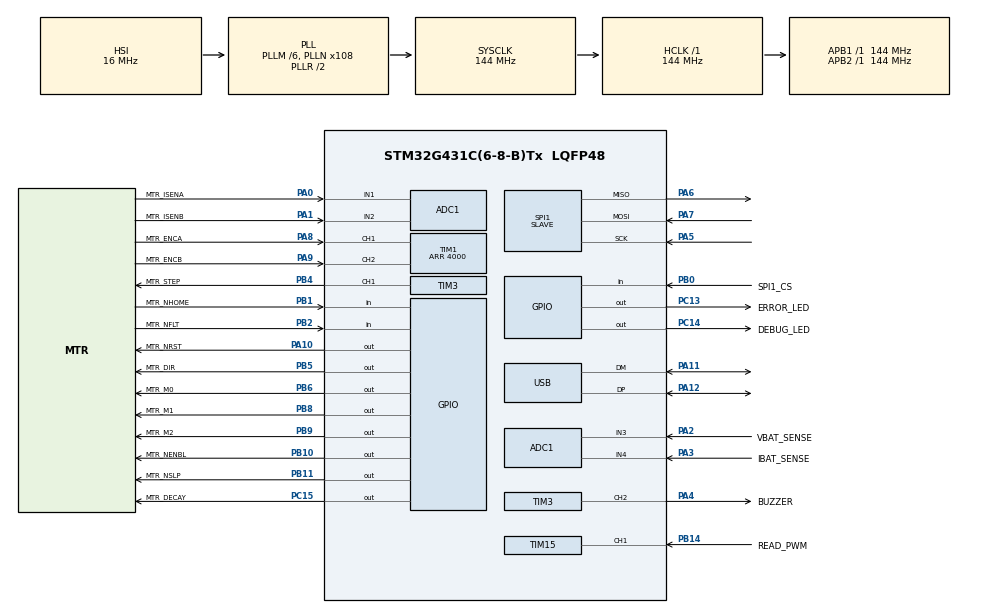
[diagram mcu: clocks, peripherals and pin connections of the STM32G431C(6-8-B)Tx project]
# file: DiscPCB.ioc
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ADC1.Channel-1\#ChannelRegularConversion=ADC_CHANNEL_1
ADC1.Channel-2\#ChannelRegularConversion=ADC_CHANNEL_2
ADC1.Channel-3\#ChannelRegularConversion=ADC_CHANNEL_3
ADC1.Channel-4\#ChannelRegularConversion=ADC_CHANNEL_4
ADC1.EOCSelection=ADC_EOC_SEQ_CONV
ADC1.ExternalTrigConv=ADC_EXTERNALTRIG_T8_TRGO
ADC1.NbrOfConversion=4
ADC1.NbrOfConversionFlag=1
ADC1.OffsetNumber-1\#ChannelRegularConversion=ADC_OFFSET_NONE
ADC1.OffsetNumber-2\#ChannelRegularConversion=ADC_OFFSET_NONE
ADC1.OffsetNumber-3\#ChannelRegularConversion=ADC_OFFSET_NONE
ADC1.OffsetNumber-4\#ChannelRegularConversion=ADC_OFFSET_NONE
ADC1.Rank-1\#ChannelRegularConversion=1
ADC1.Rank-2\#ChannelRegularConversion=2
ADC1.Rank-3\#ChannelRegularConversion=3
ADC1.Rank-4\#ChannelRegularConversion=4
ADC1.SamplingTime-1\#ChannelRegularConversion=ADC_SAMPLETIME_2CYCLES_5
ADC1.SamplingTime-2\#ChannelRegularConversion=ADC_SAMPLETIME_2CYCLES_5
ADC1.SamplingTime-3\#ChannelRegularConversion=ADC_SAMPLETIME_2CYCLES_5
ADC1.SamplingTime-4\#ChannelRegularConversion=ADC_SAMPLETIME_2CYCLES_5
ADC1.master=1
Dma.ADC1.0.Direction=DMA_PERIPH_TO_MEMORY
Dma.ADC1.0.EventEnable=DISABLE
Dma.ADC1.0.Instance=DMA1_Channel1
Dma.ADC1.0.MemDataAlignment=DMA_MDATAALIGN_HALFWORD
Dma.ADC1.0.MemInc=DMA_MINC_ENABLE
Dma.ADC1.0.Mode=DMA_NORMAL
Dma.ADC1.0.PeriphDataAlignment=DMA_PDATAALIGN_HALFWORD
Dma.ADC1.0.PeriphInc=DMA_PINC_DISABLE
Dma.ADC1.0.Polarity=HAL_DMAMUX_REQ_GEN_RISING
Dma.ADC1.0.Priority=DMA_PRIORITY_LOW
Dma.ADC1.0.RequestNumber=1
Dma.ADC1.0.SignalID=NONE
Dma.ADC1.0.SyncEnable=DISABLE
Dma.ADC1.0.SyncPolarity=HAL_DMAMUX_SYNC_NO_EVENT
Dma.ADC1.0.SyncRequestNumber=1
Dma.ADC1.0.SyncSignalID=NONE
Dma.Request0=ADC1
FREERTOS.BinarySemaphores01=spiReadySem,Dynamic,NULL,Available
FREERTOS.Queues01=adcBattBuff,4,uint16_t,0,Dynamic,NULL,NULL;motorData,64,uint16_t,0,Dynamic,NULL,NULL;timEncoder,16,uint16_t,0,Dynamic,NULL,NULL
FREERTOS.Tasks01=strelkaCommsTas,24,128,strelkaCommsFn,Default,NULL,Dynamic,NULL,NULL;powerSenseTask,24,128,powerSenseFn,Default,NULL,Dynamic,NULL,NULL;stepperCtrlTask,24,128,stepperCtrlFn,Default,NULL,Dynamic,NULL,NULL;stateMachineTas,24,128,stateMachineFn,Default,NULL,Dynamic,NULL,NULL;sampleEncoder,24,128,sampleEncoderFn,Default,NULL,Dynamic,NULL,NULL
FREERTOS.configENABLE_FPU=1
FREERTOS.configTOTAL_HEAP_SIZE=6144
FREERTOS.configUSE_NEWLIB_REENTRANT=1
Mcu.Family=STM32G4
Mcu.Name=STM32G431C(6-8-B)Tx
Mcu.Package=LQFP48
NVIC.ADC1_2_IRQn=true\:5\:0\:false\:false\:true\:true\:true\:true\:true
NVIC.DMA1_Channel1_IRQn=true\:5\:0\:false\:false\:true\:true\:false\:true\:true
NVIC.PriorityGroup=NVIC_PRIORITYGROUP_4
NVIC.SPI1_IRQn=true\:5\:0\:false\:false\:true\:true\:true\:true\:true
NVIC.TIM1_BRK_TIM15_IRQn=true\:5\:0\:false\:false\:true\:true\:true\:true\:true
NVIC.TIM1_CC_IRQn=true\:5\:0\:false\:false\:true\:true\:true\:true\:true
NVIC.TIM1_TRG_COM_TIM17_IRQn=true\:5\:0\:false\:false\:true\:true\:true\:true\:true
NVIC.TIM1_UP_TIM16_IRQn=true\:5\:0\:false\:false\:true\:true\:true\:true\:true
NVIC.TIM3_IRQn=true\:5\:0\:false\:false\:true\:true\:true\:true\:true
NVIC.TIM4_IRQn=true\:5\:0\:false\:false\:true\:true\:true\:true\:true
NVIC.TIM6_DAC_IRQn=true\:15\:0\:false\:false\:true\:false\:false\:true\:true
NVIC.TimeBase=TIM6_DAC_IRQn
NVIC.TimeBaseIP=TIM6
NVIC.USB_LP_IRQn=true\:5\:0\:false\:false\:true\:true\:false\:true\:true
PA0.GPIO_Label=MTR_ISENA
PA0.Mode=IN1-Single-Ended
PA0.Signal=ADC1_IN1
PA1.GPIO_Label=MTR_ISENB
PA1.Mode=IN2-Single-Ended
PA1.Signal=ADC1_IN2
PA10.GPIO_Label=MTR_NRST
PA10.Signal=GPIO_Output
PA11.Mode=Device
PA11.Signal=USB_DM
PA12.Mode=Device
PA12.Signal=USB_DP
PA13.Mode=Trace_Asynchronous_SW
PA13.Signal=SYS_JTMS-SWDIO
PA14.Mode=Trace_Asynchronous_SW
PA14.Signal=SYS_JTCK-SWCLK
PA2.GPIO_Label=VBAT_SENSE
PA2.Mode=IN3-Single-Ended
PA2.Signal=ADC1_IN3
PA3.GPIO_Label=IBAT_SENSE
PA3.Mode=IN4-Single-Ended
PA3.Signal=ADC1_IN4
PA4.GPIO_Label=BUZZER
PA4.Signal=S_TIM3_CH2
PA5.Mode=Full_Duplex_Slave
PA5.Signal=SPI1_SCK
PA6.Mode=Full_Duplex_Slave
PA6.Signal=SPI1_MISO
PA7.Mode=Full_Duplex_Slave
PA7.Signal=SPI1_MOSI
PA8.GPIO_Label=MTR_ENCA
PA8.Signal=S_TIM1_CH1
PA9.GPIO_Label=MTR_ENCB
PA9.Signal=S_TIM1_CH2
PB0.GPIO_Label=SPI1_CS
PB0.Signal=GPIO_Input
PB1.GPIO_Label=MTR_NHOME
PB1.Signal=GPIO_Input
PB10.GPIO_Label=MTR_NENBL
PB10.Signal=GPIO_Output
PB11.GPIO_Label=MTR_NSLP
PB11.GPIO_PuPd=GPIO_PULLUP
PB11.Signal=GPIO_Output
PB14.GPIO_Label=READ_PWM
PB14.Signal=S_TIM15_CH1
PB2.GPIO_Label=MTR_NFLT
PB2.GPIO_PuPd=GPIO_PULLUP
PB2.Signal=GPIO_Input
PB3.Mode=Trace_Asynchronous_SW
PB3.Signal=SYS_JTDO-SWO
PB4.GPIO_Label=MTR_STEP
PB4.GPIO_PuPd=GPIO_PULLUP
PB4.Signal=S_TIM3_CH1
PB5.GPIO_Label=MTR_DIR
PB5.Signal=GPIO_Output
PB6.GPIO_Label=MTR_M0
PB6.Signal=GPIO_Output
PB8-BOOT0.GPIO_Label=MTR_M1
PB8-BOOT0.Signal=GPIO_Output
PB9.GPIO_Label=MTR_M2
PB9.Signal=GPIO_Output
PC13.GPIO_Label=ERROR_LED
PC13.Signal=GPIO_Output
PC14-OSC32_IN.GPIO_Label=DEBUG_LED
PC14-OSC32_IN.Signal=GPIO_Output
PC15-OSC32_OUT.GPIO_Label=MTR_DECAY
PC15-OSC32_OUT.Signal=GPIO_Output
ProjectManager.HeapSize=0x200
ProjectManager.StackSize=0x400
ProjectManager.TargetToolchain=STM32CubeIDE
RCC.ADC12Freq_Value=144000000
RCC.AHBFreq_Value=144000000
RCC.APB1Freq_Value=144000000
RCC.APB1TimFreq_Value=144000000
RCC.APB2Freq_Value=144000000
RCC.APB2TimFreq_Value=144000000
RCC.CortexFreq_Value=144000000
RCC.EXTERNAL_CLOCK_VALUE=12288000
RCC.HCLKFreq_Value=144000000
RCC.HSE_VALUE=8000000
RCC.HSI48_VALUE=48000000
RCC.HSI_VALUE=16000000
RCC.LSE_VALUE=32768
RCC.PLLM=RCC_PLLM_DIV6
RCC.PLLN=108
RCC.PLLQ=RCC_PLLQ_DIV6
RCC.SYSCLKFreq_VALUE=144000000
RCC.SYSCLKSource=RCC_SYSCLKSOURCE_PLLCLK
RCC.USBFreq_Value=48000000
RCC.VCOOutputFreq_Value=288000000
SH.S_TIM15_CH1.0=TIM15_CH1,PWM_Input_1
SH.S_TIM1_CH1.0=TIM1_CH1,Encoder_Interface
SH.S_TIM1_CH2.0=TIM1_CH2,Encoder_Interface
SH.S_TIM3_CH1.0=TIM3_CH1,PWM Generation1 CH1
SH.S_TIM3_CH2.0=TIM3_CH2,PWM Generation2 CH2
SPI1.DataSize=SPI_DATASIZE_8BIT
SPI1.Direction=SPI_DIRECTION_2LINES
SPI1.Mode=SPI_MODE_SLAVE
SPI1.VirtualType=VM_SLAVE
TIM1.AutoReloadPreload=TIM_AUTORELOAD_PRELOAD_ENABLE
TIM1.EncoderMode=TIM_ENCODERMODE_TI12
TIM1.IC1Filter=15
TIM1.IC2Filter=15
TIM1.PeriodNoDither=4000
TIM2.Prescaler=144-1
TIM3.Channel-PWM\ Generation1\ CH1=TIM_CHANNEL_1
TIM3.Channel-PWM\ Generation2\ CH2=TIM_CHANNEL_2
TIM3.OCMode_PWM-PWM\ Generation2\ CH2=TIM_OCMODE_PWM1
TIM3.PeriodNoDither=4000-1
TIM3.Prescaler=9-1
TIM3.PulseNoDither_1=20000
TIM3.TIM_MasterOutputTrigger=TIM_TRGO_UPDATE
TIM4.PeriodNoDither=8
TIM8.Prescaler=144-1
TIM8.TIM_MasterOutputTrigger=TIM_TRGO_UPDATE
USB_DEVICE.CLASS_NAME_FS=CDC
USB_DEVICE.VirtualMode=Cdc
USB_DEVICE.VirtualModeFS=Cdc_FS
VP_FREERTOS_VS_CMSIS_V2.Mode=CMSIS_V2
VP_SYS_VS_DBSignals.Mode=DisableDeadBatterySignals
VP_SYS_VS_tim6.Mode=TIM6
VP_TIM2_VS_ClockSourceINT.Mode=Internal
VP_TIM3_VS_ClockSourceINT.Mode=Internal
VP_TIM4_VS_ClockSourceITR.Mode=TriggerSource_ITR2
VP_TIM4_VS_ControllerModeClock.Mode=Clock Mode
VP_TIM8_VS_ClockSourceINT.Mode=Internal
VP_USB_DEVICE_VS_USB_DEVICE_CDC_FS.Mode=CDC_FS
board=custom

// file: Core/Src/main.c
/* USER CODE BEGIN Header */
/**
  ******************************************************************************
  * @file           : main.c
  * @brief          : Main program body
  ******************************************************************************
  * @attention
  *
  * Copyright (c) 2025 STMicroelectronics.
  * All rights reserved.
  *
  * This software is licensed under terms that can be found in the LICENSE file
  * in the root directory of this software component.
  * If no LICENSE file comes with this software, it is provided AS-IS.
  *
  ******************************************************************************
  */
/* USER CODE END Header */
#include "main.h"
#include "cmsis_os.h"
#include "usb_device.h"

/* USER CODE BEGIN Includes */
#include "DRV8825.h"
#include "discStateMachine.h"
#include "stdio.h"
#include "threadFlags.h"
//#include "SPI_Comms.h"
#include "PID.h"
#include "encoder.h"
#include "string.h"
/* USER CODE END Includes */

/* USER CODE BEGIN PD */
//#define COMMAND_OVER_USB 1	// Uncomment if we want to receive data from USB

//#define USE_BUZZER 1		// Uncomment if we don't want the buzzer to sound
#define BUZZ_ARR 40000
#define BUZZ_PSC 9
#define BUZZ_CHANNEL TIM_CHANNEL_2

//#define DEBUGGING 1

#define ENC_SAMPLE_TIME_MS 10

#define ENC_TICKS_TO_DEG 0.09
#define DEG_TO_ENC_TICKS 11.11

#define PWM_SCALE 10000
#define PWM_SHIFT 750

/* USER CODE END PD */

ADC_HandleTypeDef hadc1;
DMA_HandleTypeDef hdma_adc1;

SPI_HandleTypeDef hspi1;

TIM_HandleTypeDef htim1;
TIM_HandleTypeDef htim2;
TIM_HandleTypeDef htim3;
TIM_HandleTypeDef htim4;
TIM_HandleTypeDef htim8;
TIM_HandleTypeDef htim15;

/* Definitions for strelkaCommsTas */
osThreadId_t strelkaCommsTasHandle;
const osThreadAttr_t strelkaCommsTas_attributes = {
  .name = "strelkaCommsTas",
  .priority = (osPriority_t) osPriorityNormal,
  .stack_size = 128 * 4
};
/* Definitions for powerSenseTask */
osThreadId_t powerSenseTaskHandle;
const osThreadAttr_t powerSenseTask_attributes = {
  .name = "powerSenseTask",
  .priority = (osPriority_t) osPriorityNormal,
  .stack_size = 128 * 4
};
/* Definitions for stepperCtrlTask */
osThreadId_t stepperCtrlTaskHandle;
const osThreadAttr_t stepperCtrlTask_attributes = {
  .name = "stepperCtrlTask",
  .priority = (osPriority_t) osPriorityNormal,
  .stack_size = 128 * 4
};
/* Definitions for stateMachineTas */
osThreadId_t stateMachineTasHandle;
const osThreadAttr_t stateMachineTas_attributes = {
  .name = "stateMachineTas",
  .priority = (osPriority_t) osPriorityNormal,
  .stack_size = 128 * 4
};
/* Definitions for sampleEncoder */
osThreadId_t sampleEncoderHandle;
const osThreadAttr_t sampleEncoder_attributes = {
  .name = "sampleEncoder",
  .priority = (osPriority_t) osPriorityNormal,
  .stack_size = 128 * 4
};
/* Definitions for adcBattBuff */
osMessageQueueId_t adcBattBuffHandle;
const osMessageQueueAttr_t adcBattBuff_attributes = {
  .name = "adcBattBuff"
};
/* Definitions for motorData */
osMessageQueueId_t motorDataHandle;
const osMessageQueueAttr_t motorData_attributes = {
  .name = "motorData"
};
/* Definitions for timEncoder */
osMessageQueueId_t timEncoderHandle;
const osMessageQueueAttr_t timEncoder_attributes = {
  .name = "timEncoder"
};
/* Definitions for spiReadySem */
osSemaphoreId_t spiReadySemHandle;
const osSemaphoreAttr_t spiReadySem_attributes = {
  .name = "spiReadySem"
};

void SystemClock_Config(void);
static void MX_GPIO_Init(void);
static void MX_DMA_Init(void);
static void MX_ADC1_Init(void);
static void MX_SPI1_Init(void);
static void MX_TIM1_Init(void);
static void MX_TIM3_Init(void);
static void MX_TIM4_Init(void);
static void MX_TIM2_Init(void);
static void MX_TIM8_Init(void);
static void MX_TIM15_Init(void);
void strelkaCommsFn(void *argument);
void powerSenseFn(void *argument);
void stepperCtrlFn(void *argument);
void stateMachineFn(void *argument);
void sampleEncoderFn(void *argument);

/* USER CODE BEGIN PFP */
uint8_t txStrelkaSPI[10];
uint8_t rxStrelkaSPI[10];
uint8_t txDiscSPI[10];
uint8_t rxDiscSPI[10];

/* USER CODE END PFP */

/* USER CODE BEGIN 0 */
TIM_HandleTypeDef* EncoderTimer = &htim1;
TIM_HandleTypeDef* MicrosTimer = &htim2;
TIM_HandleTypeDef* PWMTimer = &htim3;
TIM_HandleTypeDef* PWMStopTimer = &htim4;
TIM_HandleTypeDef* MillisTimer = &htim8;
TIM_HandleTypeDef* PWMReadTimer = &htim15;

// Initialise buffers
uint8_t txBuff[3] = {'x', 'y', 'z'};
uint8_t rxBuff[3];

uint16_t buffADC[4] = {0,0,0,0};

DeviceStatus_t discStatus = {
		.currentPosition = 0,
		.currentTime = 0,
		.targetPosition = 0,
		.isMoving = 0
};

uint32_t timestamp = 0;

uint8_t isTargetNew = 1;
int numOfRevolutions = 0;
float error = -1;

int32_t inFreq = -1;
int32_t inDutyCycle = -1;
uint32_t captureValue = 0;

// Overwrite _write method to use printf for sending to computer
int _write(int file, char *ptr, int len)
{
  (void)file;
  int DataIdx;

  for (DataIdx = 0; DataIdx < len; DataIdx++)
  {
    //__io_putchar(*ptr++);
	  ITM_SendChar(*ptr++);
  }
  return len;
}
// Define RxHandler to receive data over USB
void USB_CDC_RxHandler(uint8_t* Buf, uint32_t Len)
{
	// Define CDC RxHandler
	#ifdef COMMAND_OVER_USB
    	CDC_Transmit_FS(Buf, Len);
	#endif
}

void HAL_ADC_ConvCpltCallback(ADC_HandleTypeDef* hadc)
{
	osThreadFlagsSet(powerSenseTaskHandle, isADCDone);

//	// Restart ADC
//	HAL_ADC_Start_DMA(&hadc1, buffADC, 4);
}

uint32_t micros(void) {
	return MicrosTimer->Instance->CNT;
}

uint32_t millis(void) {
	return MillisTimer->Instance->CNT;
}

void HAL_TIM_IC_CaptureCallback(TIM_HandleTypeDef *htim) {
	if (htim == PWMReadTimer) {
	    if(htim ->Channel == HAL_TIM_ACTIVE_CHANNEL_1) {
	        capture_value = HAL_TIM_ReadCapturedValue(PWMReadTimer, TIM_CHANNEL_1);
			if(capture_value) {
				inFreq = SystemCoreClock / (capture_value);
				inDutyCycle = PWM_SCALE * HAL_TIM_ReadCapturedValue(PWMReadTimer, TIM_CHANNEL_2) / capture_value - PWM_SHIFT;
			}
	    }
	}
}

/* USER CODE END 0 */

int main(void)
{

  /* MCU Configuration--------------------------------------------------------*/

  /* Reset of all peripherals, Initializes the Flash interface and the Systick. */
  HAL_Init();

  /* Configure the system clock */
  SystemClock_Config();

  /* Initialize all configured peripherals */
  MX_GPIO_Init();
  MX_DMA_Init();
  MX_ADC1_Init();
  MX_SPI1_Init();
  MX_TIM1_Init();
  MX_TIM3_Init();
  MX_TIM4_Init();
  MX_TIM2_Init();
  MX_TIM8_Init();
  MX_TIM15_Init();

  /* Init scheduler */
  osKernelInitialize();

  /* Create the semaphores(s) */
  /* creation of spiReadySem */
  spiReadySemHandle = osSemaphoreNew(1, 1, &spiReadySem_attributes);

  /* Create the queue(s) */
  /* creation of adcBattBuff */
  adcBattBuffHandle = osMessageQueueNew (4, sizeof(uint16_t), &adcBattBuff_attributes);

  /* creation of motorData */
  motorDataHandle = osMessageQueueNew (64, sizeof(uint16_t), &motorData_attributes);

  /* creation of timEncoder */
  timEncoderHandle = osMessageQueueNew (16, sizeof(uint16_t), &timEncoder_attributes);

  /* Create the thread(s) */
  /* creation of strelkaCommsTas */
  strelkaCommsTasHandle = osThreadNew(strelkaCommsFn, NULL, &strelkaCommsTas_attributes);

  /* creation of powerSenseTask */
  powerSenseTaskHandle = osThreadNew(powerSenseFn, NULL, &powerSenseTask_attributes);

  /* creation of stepperCtrlTask */
  stepperCtrlTaskHandle = osThreadNew(stepperCtrlFn, NULL, &stepperCtrlTask_attributes);

  /* creation of stateMachineTas */
  stateMachineTasHandle = osThreadNew(stateMachineFn, NULL, &stateMachineTas_attributes);

  /* creation of sampleEncoder */
  sampleEncoderHandle = osThreadNew(sampleEncoderFn, NULL, &sampleEncoder_attributes);

  /* USER CODE BEGIN RTOS_EVENTS */
  /* add events, ... */
  HAL_TIM_Base_Start(MicrosTimer);
  HAL_TIM_Base_Start(MillisTimer);
  HAL_TIM_Base_Start(PWMReadTimer);
  /* USER CODE END RTOS_EVENTS */

  /* Start scheduler */
  osKernelStart();

  /* We should never get here as control is now taken by the scheduler */

  /* Infinite loop */
  while (1)
  {

  }
}

void SystemClock_Config(void)
{
  RCC_OscInitTypeDef RCC_OscInitStruct = {0};
  RCC_ClkInitTypeDef RCC_ClkInitStruct = {0};

  /** Configure the main internal regulator output voltage
  */
  HAL_PWREx_ControlVoltageScaling(PWR_REGULATOR_VOLTAGE_SCALE1);

  /** Initializes the RCC Oscillators according to the specified parameters
  * in the RCC_OscInitTypeDef structure.
  */
  RCC_OscInitStruct.OscillatorType = RCC_OSCILLATORTYPE_HSI;
  RCC_OscInitStruct.HSIState = RCC_HSI_ON;
  RCC_OscInitStruct.HSICalibrationValue = RCC_HSICALIBRATION_DEFAULT;
  RCC_OscInitStruct.PLL.PLLState = RCC_PLL_ON;
  RCC_OscInitStruct.PLL.PLLSource = RCC_PLLSOURCE_HSI;
  RCC_OscInitStruct.PLL.PLLM = RCC_PLLM_DIV6;
  RCC_OscInitStruct.PLL.PLLN = 108;
  RCC_OscInitStruct.PLL.PLLP = RCC_PLLP_DIV2;
  RCC_OscInitStruct.PLL.PLLQ = RCC_PLLQ_DIV6;
  RCC_OscInitStruct.PLL.PLLR = RCC_PLLR_DIV2;
  if (HAL_RCC_OscConfig(&RCC_OscInitStruct) != HAL_OK)
  {
    Error_Handler();
  }

  /** Initializes the CPU, AHB and APB buses clocks
  */
  RCC_ClkInitStruct.ClockType = RCC_CLOCKTYPE_HCLK|RCC_CLOCKTYPE_SYSCLK
                              |RCC_CLOCKTYPE_PCLK1|RCC_CLOCKTYPE_PCLK2;
  RCC_ClkInitStruct.SYSCLKSource = RCC_SYSCLKSOURCE_PLLCLK;
  RCC_ClkInitStruct.AHBCLKDivider = RCC_SYSCLK_DIV1;
  RCC_ClkInitStruct.APB1CLKDivider = RCC_HCLK_DIV1;
  RCC_ClkInitStruct.APB2CLKDivider = RCC_HCLK_DIV1;

  if (HAL_RCC_ClockConfig(&RCC_ClkInitStruct, FLASH_LATENCY_4) != HAL_OK)
  {
    Error_Handler();
  }
}

static void MX_ADC1_Init(void)
{

  ADC_MultiModeTypeDef multimode = {0};
  ADC_ChannelConfTypeDef sConfig = {0};

  /** Common config
  */
  hadc1.Instance = ADC1;
  hadc1.Init.ClockPrescaler = ADC_CLOCK_SYNC_PCLK_DIV4;
  hadc1.Init.Resolution = ADC_RESOLUTION_12B;
  hadc1.Init.DataAlign = ADC_DATAALIGN_RIGHT;
  hadc1.Init.GainCompensation = 0;
  hadc1.Init.ScanConvMode = ADC_SCAN_ENABLE;
  hadc1.Init.EOCSelection = ADC_EOC_SEQ_CONV;
  hadc1.Init.LowPowerAutoWait = DISABLE;
  hadc1.Init.ContinuousConvMode = DISABLE;
  hadc1.Init.NbrOfConversion = 4;
  hadc1.Init.DiscontinuousConvMode = DISABLE;
  hadc1.Init.ExternalTrigConv = ADC_EXTERNALTRIG_T8_TRGO;
  hadc1.Init.ExternalTrigConvEdge = ADC_EXTERNALTRIGCONVEDGE_RISING;
  hadc1.Init.DMAContinuousRequests = DISABLE;
  hadc1.Init.Overrun = ADC_OVR_DATA_PRESERVED;
  hadc1.Init.OversamplingMode = DISABLE;
  if (HAL_ADC_Init(&hadc1) != HAL_OK)
  {
    Error_Handler();
  }

  /** Configure the ADC multi-mode
  */
  multimode.Mode = ADC_MODE_INDEPENDENT;
  if (HAL_ADCEx_MultiModeConfigChannel(&hadc1, &multimode) != HAL_OK)
  {
    Error_Handler();
  }

  /** Configure Regular Channel
  */
  sConfig.Channel = ADC_CHANNEL_1;
  sConfig.Rank = ADC_REGULAR_RANK_1;
  sConfig.SamplingTime = ADC_SAMPLETIME_2CYCLES_5;
  sConfig.SingleDiff = ADC_SINGLE_ENDED;
  sConfig.OffsetNumber = ADC_OFFSET_NONE;
  sConfig.Offset = 0;
  if (HAL_ADC_ConfigChannel(&hadc1, &sConfig) != HAL_OK)
  {
    Error_Handler();
  }

  /** Configure Regular Channel
  */
  sConfig.Channel = ADC_CHANNEL_2;
  sConfig.Rank = ADC_REGULAR_RANK_2;
  if (HAL_ADC_ConfigChannel(&hadc1, &sConfig) != HAL_OK)
  {
    Error_Handler();
  }

  /** Configure Regular Channel
  */
  sConfig.Channel = ADC_CHANNEL_3;
  sConfig.Rank = ADC_REGULAR_RANK_3;
  if (HAL_ADC_ConfigChannel(&hadc1, &sConfig) != HAL_OK)
  {
    Error_Handler();
  }

  /** Configure Regular Channel
  */
  sConfig.Channel = ADC_CHANNEL_4;
  sConfig.Rank = ADC_REGULAR_RANK_4;
  if (HAL_ADC_ConfigChannel(&hadc1, &sConfig) != HAL_OK)
  {
    Error_Handler();
  }

}

static void MX_SPI1_Init(void)
{

  /* SPI1 parameter configuration*/
  hspi1.Instance = SPI1;
  hspi1.Init.Mode = SPI_MODE_SLAVE;
  hspi1.Init.Direction = SPI_DIRECTION_2LINES;
  hspi1.Init.DataSize = SPI_DATASIZE_8BIT;
  hspi1.Init.CLKPolarity = SPI_POLARITY_LOW;
  hspi1.Init.CLKPhase = SPI_PHASE_1EDGE;
  hspi1.Init.NSS = SPI_NSS_SOFT;
  hspi1.Init.FirstBit = SPI_FIRSTBIT_MSB;
  hspi1.Init.TIMode = SPI_TIMODE_DISABLE;
  hspi1.Init.CRCCalculation = SPI_CRCCALCULATION_DISABLE;
  hspi1.Init.CRCPolynomial = 7;
  hspi1.Init.CRCLength = SPI_CRC_LENGTH_DATASIZE;
  hspi1.Init.NSSPMode = SPI_NSS_PULSE_DISABLE;
  if (HAL_SPI_Init(&hspi1) != HAL_OK)
  {
    Error_Handler();
  }

}

static void MX_TIM1_Init(void)
{

  TIM_Encoder_InitTypeDef sConfig = {0};
  TIM_MasterConfigTypeDef sMasterConfig = {0};

  htim1.Instance = TIM1;
  htim1.Init.Prescaler = 0;
  htim1.Init.CounterMode = TIM_COUNTERMODE_UP;
  htim1.Init.Period = 4000;
  htim1.Init.ClockDivision = TIM_CLOCKDIVISION_DIV1;
  htim1.Init.RepetitionCounter = 0;
  htim1.Init.AutoReloadPreload = TIM_AUTORELOAD_PRELOAD_ENABLE;
  sConfig.EncoderMode = TIM_ENCODERMODE_TI12;
  sConfig.IC1Polarity = TIM_ICPOLARITY_RISING;
  sConfig.IC1Selection = TIM_ICSELECTION_DIRECTTI;
  sConfig.IC1Prescaler = TIM_ICPSC_DIV1;
  sConfig.IC1Filter = 15;
  sConfig.IC2Polarity = TIM_ICPOLARITY_RISING;
  sConfig.IC2Selection = TIM_ICSELECTION_DIRECTTI;
  sConfig.IC2Prescaler = TIM_ICPSC_DIV1;
  sConfig.IC2Filter = 15;
  if (HAL_TIM_Encoder_Init(&htim1, &sConfig) != HAL_OK)
  {
    Error_Handler();
  }
  sMasterConfig.MasterOutputTrigger = TIM_TRGO_RESET;
  sMasterConfig.MasterOutputTrigger2 = TIM_TRGO2_RESET;
  sMasterConfig.MasterSlaveMode = TIM_MASTERSLAVEMODE_DISABLE;
  if (HAL_TIMEx_MasterConfigSynchronization(&htim1, &sMasterConfig) != HAL_OK)
  {
    Error_Handler();
  }

}

static void MX_TIM2_Init(void)
{

  TIM_ClockConfigTypeDef sClockSourceConfig = {0};
  TIM_MasterConfigTypeDef sMasterConfig = {0};

  htim2.Instance = TIM2;
  htim2.Init.Prescaler = 144-1;
  htim2.Init.CounterMode = TIM_COUNTERMODE_UP;
  htim2.Init.Period = 4294967295;
  htim2.Init.ClockDivision = TIM_CLOCKDIVISION_DIV1;
  htim2.Init.AutoReloadPreload = TIM_AUTORELOAD_PRELOAD_DISABLE;
  if (HAL_TIM_Base_Init(&htim2) != HAL_OK)
  {
    Error_Handler();
  }
  sClockSourceConfig.ClockSource = TIM_CLOCKSOURCE_INTERNAL;
  if (HAL_TIM_ConfigClockSource(&htim2, &sClockSourceConfig) != HAL_OK)
  {
    Error_Handler();
  }
  sMasterConfig.MasterOutputTrigger = TIM_TRGO_RESET;
  sMasterConfig.MasterSlaveMode = TIM_MASTERSLAVEMODE_DISABLE;
  if (HAL_TIMEx_MasterConfigSynchronization(&htim2, &sMasterConfig) != HAL_OK)
  {
    Error_Handler();
  }

}

static void MX_TIM3_Init(void)
{

  TIM_ClockConfigTypeDef sClockSourceConfig = {0};
  TIM_MasterConfigTypeDef sMasterConfig = {0};
  TIM_OC_InitTypeDef sConfigOC = {0};

  htim3.Instance = TIM3;
  htim3.Init.Prescaler = 9-1;
  htim3.Init.CounterMode = TIM_COUNTERMODE_UP;
  htim3.Init.Period = 3999;
  htim3.Init.ClockDivision = TIM_CLOCKDIVISION_DIV1;
  htim3.Init.AutoReloadPreload = TIM_AUTORELOAD_PRELOAD_DISABLE;
  if (HAL_TIM_Base_Init(&htim3) != HAL_OK)
  {
    Error_Handler();
  }
  sClockSourceConfig.ClockSource = TIM_CLOCKSOURCE_INTERNAL;
  if (HAL_TIM_ConfigClockSource(&htim3, &sClockSourceConfig) != HAL_OK)
  {
    Error_Handler();
  }
  if (HAL_TIM_PWM_Init(&htim3) != HAL_OK)
  {
    Error_Handler();
  }
  sMasterConfig.MasterOutputTrigger = TIM_TRGO_UPDATE;
  sMasterConfig.MasterSlaveMode = TIM_MASTERSLAVEMODE_DISABLE;
  if (HAL_TIMEx_MasterConfigSynchronization(&htim3, &sMasterConfig) != HAL_OK)
  {
    Error_Handler();
  }
  sConfigOC.OCMode = TIM_OCMODE_PWM1;
  sConfigOC.Pulse = 20000;
  sConfigOC.OCPolarity = TIM_OCPOLARITY_HIGH;
  sConfigOC.OCFastMode = TIM_OCFAST_DISABLE;
  if (HAL_TIM_PWM_ConfigChannel(&htim3, &sConfigOC, TIM_CHANNEL_1) != HAL_OK)
  {
    Error_Handler();
  }
  sConfigOC.Pulse = 0;
  if (HAL_TIM_PWM_ConfigChannel(&htim3, &sConfigOC, TIM_CHANNEL_2) != HAL_OK)
  {
    Error_Handler();
  }
  HAL_TIM_MspPostInit(&htim3);

}

static void MX_TIM4_Init(void)
{

  TIM_SlaveConfigTypeDef sSlaveConfig = {0};
  TIM_MasterConfigTypeDef sMasterConfig = {0};

  htim4.Instance = TIM4;
  htim4.Init.Prescaler = 0;
  htim4.Init.CounterMode = TIM_COUNTERMODE_UP;
  htim4.Init.Period = 8;
  htim4.Init.ClockDivision = TIM_CLOCKDIVISION_DIV1;
  htim4.Init.AutoReloadPreload = TIM_AUTORELOAD_PRELOAD_DISABLE;
  if (HAL_TIM_Base_Init(&htim4) != HAL_OK)
  {
    Error_Handler();
  }
  sSlaveConfig.SlaveMode = TIM_SLAVEMODE_EXTERNAL1;
  sSlaveConfig.InputTrigger = TIM_TS_ITR2;
  if (HAL_TIM_SlaveConfigSynchro(&htim4, &sSlaveConfig) != HAL_OK)
  {
    Error_Handler();
  }
  sMasterConfig.MasterOutputTrigger = TIM_TRGO_RESET;
  sMasterConfig.MasterSlaveMode = TIM_MASTERSLAVEMODE_DISABLE;
  if (HAL_TIMEx_MasterConfigSynchronization(&htim4, &sMasterConfig) != HAL_OK)
  {
    Error_Handler();
  }

}

static void MX_TIM8_Init(void)
{

  TIM_ClockConfigTypeDef sClockSourceConfig = {0};
  TIM_MasterConfigTypeDef sMasterConfig = {0};

  htim8.Instance = TIM8;
  htim8.Init.Prescaler = 144-1;
  htim8.Init.CounterMode = TIM_COUNTERMODE_UP;
  htim8.Init.Period = 65535;
  htim8.Init.ClockDivision = TIM_CLOCKDIVISION_DIV1;
  htim8.Init.RepetitionCounter = 0;
  htim8.Init.AutoReloadPreload = TIM_AUTORELOAD_PRELOAD_DISABLE;
  if (HAL_TIM_Base_Init(&htim8) != HAL_OK)
  {
    Error_Handler();
  }
  sClockSourceConfig.ClockSource = TIM_CLOCKSOURCE_INTERNAL;
  if (HAL_TIM_ConfigClockSource(&htim8, &sClockSourceConfig) != HAL_OK)
  {
    Error_Handler();
  }
  sMasterConfig.MasterOutputTrigger = TIM_TRGO_UPDATE;
  sMasterConfig.MasterOutputTrigger2 = TIM_TRGO2_RESET;
  sMasterConfig.MasterSlaveMode = TIM_MASTERSLAVEMODE_DISABLE;
  if (HAL_TIMEx_MasterConfigSynchronization(&htim8, &sMasterConfig) != HAL_OK)
  {
    Error_Handler();
  }

}

static void MX_TIM15_Init(void)
{

  TIM_SlaveConfigTypeDef sSlaveConfig = {0};
  TIM_IC_InitTypeDef sConfigIC = {0};
  TIM_MasterConfigTypeDef sMasterConfig = {0};

  htim15.Instance = TIM15;
  htim15.Init.Prescaler = 0;
  htim15.Init.CounterMode = TIM_COUNTERMODE_UP;
  htim15.Init.Period = 65535;
  htim15.Init.ClockDivision = TIM_CLOCKDIVISION_DIV1;
  htim15.Init.RepetitionCounter = 0;
  htim15.Init.AutoReloadPreload = TIM_AUTORELOAD_PRELOAD_DISABLE;
  if (HAL_TIM_IC_Init(&htim15) != HAL_OK)
  {
    Error_Handler();
  }
  sSlaveConfig.SlaveMode = TIM_SLAVEMODE_RESET;
  sSlaveConfig.InputTrigger = TIM_TS_TI1FP1;
  sSlaveConfig.TriggerPolarity = TIM_INPUTCHANNELPOLARITY_RISING;
  sSlaveConfig.TriggerPrescaler = TIM_ICPSC_DIV1;
  sSlaveConfig.TriggerFilter = 0;
  if (HAL_TIM_SlaveConfigSynchro(&htim15, &sSlaveConfig) != HAL_OK)
  {
    Error_Handler();
  }
  sConfigIC.ICPolarity = TIM_INPUTCHANNELPOLARITY_RISING;
  sConfigIC.ICSelection = TIM_ICSELECTION_DIRECTTI;
  sConfigIC.ICPrescaler = TIM_ICPSC_DIV1;
  sConfigIC.ICFilter = 0;
  if (HAL_TIM_IC_ConfigChannel(&htim15, &sConfigIC, TIM_CHANNEL_1) != HAL_OK)
  {
    Error_Handler();
  }
  sConfigIC.ICPolarity = TIM_INPUTCHANNELPOLARITY_FALLING;
  sConfigIC.ICSelection = TIM_ICSELECTION_INDIRECTTI;
  if (HAL_TIM_IC_ConfigChannel(&htim15, &sConfigIC, TIM_CHANNEL_2) != HAL_OK)
  {
    Error_Handler();
  }
  sMasterConfig.MasterOutputTrigger = TIM_TRGO_RESET;
  sMasterConfig.MasterSlaveMode = TIM_MASTERSLAVEMODE_DISABLE;
  if (HAL_TIMEx_MasterConfigSynchronization(&htim15, &sMasterConfig) != HAL_OK)
  {
    Error_Handler();
  }

}

static void MX_DMA_Init(void)
{

  /* DMA controller clock enable */
  __HAL_RCC_DMAMUX1_CLK_ENABLE();
  __HAL_RCC_DMA1_CLK_ENABLE();

  /* DMA interrupt init */
  /* DMA1_Channel1_IRQn interrupt configuration */
  HAL_NVIC_SetPriority(DMA1_Channel1_IRQn, 5, 0);
  HAL_NVIC_EnableIRQ(DMA1_Channel1_IRQn);

}

static void MX_GPIO_Init(void)
{
  GPIO_InitTypeDef GPIO_InitStruct = {0};

  /* GPIO Ports Clock Enable */
  __HAL_RCC_GPIOC_CLK_ENABLE();
  __HAL_RCC_GPIOA_CLK_ENABLE();
  __HAL_RCC_GPIOB_CLK_ENABLE();

  /*Configure GPIO pin Output Level */
  HAL_GPIO_WritePin(GPIOC, ERROR_LED_Pin|DEBUG_LED_Pin|MTR_DECAY_Pin, GPIO_PIN_RESET);

  /*Configure GPIO pin Output Level */
  HAL_GPIO_WritePin(GPIOB, MTR_NENBL_Pin|MTR_NSLP_Pin|MTR_DIR_Pin|MTR_M0_Pin
                          |MTR_M1_Pin|MTR_M2_Pin, GPIO_PIN_RESET);

  /*Configure GPIO pin Output Level */
  HAL_GPIO_WritePin(MTR_NRST_GPIO_Port, MTR_NRST_Pin, GPIO_PIN_RESET);

  /*Configure GPIO pins : ERROR_LED_Pin DEBUG_LED_Pin MTR_DECAY_Pin */
  GPIO_InitStruct.Pin = ERROR_LED_Pin|DEBUG_LED_Pin|MTR_DECAY_Pin;
  GPIO_InitStruct.Mode = GPIO_MODE_OUTPUT_PP;
  GPIO_InitStruct.Pull = GPIO_NOPULL;
  GPIO_InitStruct.Speed = GPIO_SPEED_FREQ_LOW;
  HAL_GPIO_Init(GPIOC, &GPIO_InitStruct);

  /*Configure GPIO pins : SPI1_CS_Pin MTR_NHOME_Pin */
  GPIO_InitStruct.Pin = SPI1_CS_Pin|MTR_NHOME_Pin;
  GPIO_InitStruct.Mode = GPIO_MODE_INPUT;
  GPIO_InitStruct.Pull = GPIO_NOPULL;
  HAL_GPIO_Init(GPIOB, &GPIO_InitStruct);

  /*Configure GPIO pin : MTR_NFLT_Pin */
  GPIO_InitStruct.Pin = MTR_NFLT_Pin;
  GPIO_InitStruct.Mode = GPIO_MODE_INPUT;
  GPIO_InitStruct.Pull = GPIO_PULLUP;
  HAL_GPIO_Init(MTR_NFLT_GPIO_Port, &GPIO_InitStruct);

  /*Configure GPIO pins : MTR_NENBL_Pin MTR_DIR_Pin MTR_M0_Pin MTR_M1_Pin
                           MTR_M2_Pin */
  GPIO_InitStruct.Pin = MTR_NENBL_Pin|MTR_DIR_Pin|MTR_M0_Pin|MTR_M1_Pin
                          |MTR_M2_Pin;
  GPIO_InitStruct.Mode = GPIO_MODE_OUTPUT_PP;
  GPIO_InitStruct.Pull = GPIO_NOPULL;
  GPIO_InitStruct.Speed = GPIO_SPEED_FREQ_LOW;
  HAL_GPIO_Init(GPIOB, &GPIO_InitStruct);

  /*Configure GPIO pin : MTR_NSLP_Pin */
  GPIO_InitStruct.Pin = MTR_NSLP_Pin;
  GPIO_InitStruct.Mode = GPIO_MODE_OUTPUT_PP;
  GPIO_InitStruct.Pull = GPIO_PULLUP;
  GPIO_InitStruct.Speed = GPIO_SPEED_FREQ_LOW;
  HAL_GPIO_Init(MTR_NSLP_GPIO_Port, &GPIO_InitStruct);

  /*Configure GPIO pin : MTR_NRST_Pin */
  GPIO_InitStruct.Pin = MTR_NRST_Pin;
  GPIO_InitStruct.Mode = GPIO_MODE_OUTPUT_PP;
  GPIO_InitStruct.Pull = GPIO_NOPULL;
  GPIO_InitStruct.Speed = GPIO_SPEED_FREQ_LOW;
  HAL_GPIO_Init(MTR_NRST_GPIO_Port, &GPIO_InitStruct);

}

void strelkaCommsFn(void *argument)
{
  /* init code for USB_Device */
  MX_USB_Device_Init();
  /* USER CODE BEGIN 5 */

  /* Infinite loop */
  for(;;)
  {

	  osDelay(100);
  }
  /* USER CODE END 5 */
}

void powerSenseFn(void *argument)
{
  /* USER CODE BEGIN powerSenseFn */
	// Initialise variables
	uint16_t mtr_A_I = 0;
	uint16_t mtr_B_I = 0;
	uint16_t batt_V = 0;
	uint16_t batt_I = 0;

	// Start up ADCs
	HAL_ADCEx_Calibration_Start(&hadc1, ADC_SINGLE_ENDED);
	HAL_ADC_Start_DMA(&hadc1, buffADC, 4);

  /* Infinite loop */
  for(;;)
  {
	  // Task waits for ADC callback to run
	  osThreadFlagsWait(isADCDone, osFlagsWaitAny, osWaitForever);

	  char blah[64];
//		  sprintf(blah, "%d,%d,%d,%d\n", mtr_A_I, mtr_B_I, batt_V, batt_I);
//		  sprintf(blah, "%d,%d,%d,%d\n",buffADC[0],buffADC[1],buffADC[2],buffADC[3]);
//		  printf(blah);

	  batt_V = buffADC[2];

	  // Convert data from each channel to actual units
    osDelay(100);
  }
  /* USER CODE END powerSenseFn */
}

void stepperCtrlFn(void *argument)
{
  /* USER CODE BEGIN stepperCtrlFn */
  /* Infinite loop */

#ifdef USE_BUZZER
	// Wait until buzzer complete
	osThreadFlagsWait(buzzerDone, osFlagsWaitAny, osWaitForever);
#endif
	// Start up stepper handle
	stepperIO_t sIO = {
			.M0Port 		= MTR_M0_GPIO_Port,
			.M0Pin 			= MTR_M0_Pin,
			.M1Port 		= MTR_M1_GPIO_Port,
			.M1Pin 			= MTR_M1_Pin,
			.M2Port 		= MTR_M2_GPIO_Port,
			.M2Pin 			= MTR_M2_Pin,
			.decayPort 		= MTR_DECAY_GPIO_Port,
			.decayPin 		= MTR_DECAY_Pin,
			.dirPort 		= MTR_DIR_GPIO_Port,
			.dirPin 		= MTR_DIR_Pin,
			.nEnablePort 	= MTR_NENBL_GPIO_Port,
			.nEnablePin 	= MTR_NENBL_Pin,
			.nFaultPort 	= MTR_NFLT_GPIO_Port,
			.nFaultPort 	= MTR_NFLT_Pin,
			.nHomePort 		= MTR_NHOME_GPIO_Port,
			.nHomePin	 	= MTR_NHOME_Pin,
			.nResetPort 	= MTR_NRST_GPIO_Port,
			.nResetPin 		= MTR_NRST_Pin,
			.nSleepPort 	= MTR_NSLP_GPIO_Port,
			.nSleepPin 		= MTR_NSLP_Pin
	};

	stepperRotInfo_t sRot = {
			.PWMPtr 		= PWMTimer,
			.PWMStopPtr 	= PWMStopTimer,
			.driveRes 		= REV_8,
			.driverSteps 	= 0,
			.maxAngle 		= 90.0,
			.minAngle 		= 0.0,

	};

	stepperConfig_t sCfg = {
			.moveProfile 	= MOVE_TRAP,
			.stepRes 		= MICROSTEP_8,
			.stepperDir 	= 0
	};

	stepperHandle_t* mtrHandle = DRV_init(&sCfg, &sIO, &sRot);
	DRV_wakeup(mtrHandle);
	DRV_start(mtrHandle);
//	__HAL_TIM_SET_PRESCALER(mtrHandle->rotInfo->PWMPtr, 8);
	DRV_microstep_config(mtrHandle, MICROSTEP_1);
	DRV_set_pulse_freq(mtrHandle, 1200);

	// Set up control loop parameters
	float Kp = 100;
	float Ki = 0.00;
	float Kd = 0.00;
	float Tt = 2;

	const float dt = 0.01;

	// Constant output max/min for a fixed speed/microstep resolution
	float output_min = (float) mtrHandle->rotInfo->pulseFreq * -dt;
	float output_max = (float) mtrHandle->rotInfo->pulseFreq * dt;

	float alpha = 0.9;
	float setpoint = 1800.0; // Positive here means clockwise ;-;

	PIDController_t PID = {
		.Kp = Kp,
		.Ki = Ki,
		.Kd = Kd,
		.Tt = Tt,
		.dt = dt,
		.output_min = output_min,
		.output_max = output_max,
		.alpha = alpha,
		.integral = 0.0f,
		.prev_error = 0.0f,
		.derivative = 0.0f,
		.setpoint = setpoint
	};
	discStatus.targetPosition = setpoint;

	float deadband = 100.0f;

	uint16_t lastPrintTime = millis();
	uint16_t currentPrintTime = millis();

#ifdef DEBUGGING
	uint8_t justReachedSetpoint = 0;
	uint16_t reachedSetpointTime = millis();
	uint16_t newTime = millis();
	uint16_t sleepThreshold = 10000;
#endif
//	uint8_t printBuff[64];

  for(;;)
  {

	  // Get error based on this
//	  float error = discStatus.currentPosition - discStatus.targetPosition; // +ve setpoint
	  error = discStatus.currentPosition - discStatus.targetPosition; // +ve setpoint
//	  float error = discStatus.targetPosition - discStatus.currentPosition;

//	  if (currentPrintTime - lastPrintTime > 500) {
//		  sprintf(printBuff, "%.2f, %.2f\n", error, blah);
//		  printf(printBuff);
//		  lastPrintTime = millis();
//	  }

	  // FIXME: Add DRV_stop_steps function
	  if (error > deadband || error < -deadband) {
#ifdef DEBUGGING
		  justReachedSetpoint = 0;
#endif
		  if (mtrHandle->cfg->stepRes != MICROSTEP_2) {
			DRV_microstep_config(mtrHandle, MICROSTEP_1);
			DRV_set_pulse_freq(mtrHandle, 1000);
		  }

		  // Run PID controller -> outputs velocity in deg/s
		  //float outPID = PID_Update_old(&PID, error) * PID.dt;
		  float outPID = PID_Update(&PID, error) * PID.dt;
//		  if (outPID > 0) {
//			  HAL_GPIO_WritePin(DEBUG_LED_GPIO_Port, DEBUG_LED_Pin, GPIO_PIN_SET);
//		  }
//		  else {
//			  HAL_GPIO_WritePin(DEBUG_LED_GPIO_Port, DEBUG_LED_Pin, GPIO_PIN_RESET);
//		  }

		  // Get number of steps for this iteration of the control loop
		  DRV_move_angle_rel_OL(mtrHandle, outPID);
		  discStatus.isMoving = 1;

	  }
	  else {
#ifdef DEBUGGING
		  if (justReachedSetpoint == 0) {
			  justReachedSetpoint = 1;
			  reachedSetpointTime = millis();
		  }

		  if (newTime - reachedSetpointTime > sleepThreshold) {
			  DRV_sleep(mtrHandle);
		  }
#endif

		  // Close enough, so set microsteps to 32 and drop the speed for
		  // more holding torque
		  DRV_microstep_config(mtrHandle, MICROSTEP_32);
		  DRV_set_pulse_freq(mtrHandle, 200);

		  discStatus.isMoving = 0;

//		  DRV_sleep(mtrHandle);
//		  DRV_move_angle_rel_OL(mtrHandle, 0);

		  // Now that it's close enough, fill the TX buffer with an acknowledgement
//		  uint32_t acknowledgePacket = 0x23;
//		  memcpy(txDiscSPI, &acknowledgePacket, sizeof(acknowledgePacket));
	  }
#ifdef DEBUGGING
	  newTime = millis();
#endif
	  osDelay(10);
  }
  /* USER CODE END stepperCtrlFn */
}

void stateMachineFn(void *argument)
{
  /* USER CODE BEGIN stateMachineFn */
	// Set PWM duty cycle for buzzer to 50%
//	TIM3->CCR2 = (int) TIM3->ARR/2;
//	TIM3->CCR2 = 2000;

// Buzzer only sounds when state machine task entered initially
#ifdef USE_BUZZER
//	__HAL_TIM_SET_AUTORELOAD(PWMTimer, BUZZ_ARR-1);
//	__HAL_TIM_SET_PRESCALER(PWMTimer, BUZZ_PSC-1);
	__HAL_TIM_SET_COMPARE(PWMTimer, BUZZ_CHANNEL, ((int) PWMTimer->Instance->ARR)/2);

	HAL_TIM_PWM_Start(PWMTimer, BUZZ_CHANNEL);
	osDelay(100);
	HAL_TIM_PWM_Stop(PWMTimer, BUZZ_CHANNEL);
	osDelay(100);
	HAL_TIM_PWM_Start(PWMTimer, BUZZ_CHANNEL);
	osDelay(100);
	HAL_TIM_PWM_Stop(PWMTimer, BUZZ_CHANNEL);
	osDelay(100);
	HAL_TIM_PWM_Start(PWMTimer, BUZZ_CHANNEL);
	osDelay(100);
	HAL_TIM_PWM_Stop(PWMTimer, BUZZ_CHANNEL);

	osThreadFlagsSet(stepperCtrlTaskHandle, buzzerDone);
#endif

  /* Infinite loop */
  for(;;)
  {
    osDelay(100);
  }
  /* USER CODE END stateMachineFn */
}

void sampleEncoderFn(void *argument)
{
  /* USER CODE BEGIN sampleEncoderFn */
	encoderHandle_t eHandlePtr = {
			.encTimer = EncoderTimer,
			.pulseVel = 0.0f,
			.totalPulses = 0.
	};

	encoderStart(&eHandlePtr, 1000, 10);

	uint32_t previousTime = millis();
	uint32_t currentTime = millis();
	float dt = -1;
  /* Infinite loop */
  for(;;)
  {
	  // Calculate dt for this iteration
	  dt = currentTime - previousTime;

	  if (dt > ENC_SAMPLE_TIME_MS) {
		  // Read from encoder
		  sampleEncoder(&eHandlePtr, dt/1E3);

		  // Update the current position
		  discStatus.currentPosition = eHandlePtr.totalPulses * ENC_TICKS_TO_DEG;

//		  // Add it to the queue - message priority ignored
//		  osMessageQueuePut(timEncoderHandle, &currentEncoder, 0, osWaitForever);

		  previousTime = millis();
	  }

	  currentTime = millis();
	  timestamp = millis();

//	  HAL_GPIO_TogglePin(DEBUG_LED_GPIO_Port, DEBUG_LED_Pin);
	  osDelay(1);
  }
  /* USER CODE END sampleEncoderFn */
}

void HAL_TIM_PeriodElapsedCallback(TIM_HandleTypeDef *htim)
{
  if (htim->Instance == TIM6) {
    HAL_IncTick();
  }
  /* USER CODE BEGIN Callback 1 */
  if (htim == PWMStopTimer) {
		// Stop PWM from timer 1
		HAL_TIM_PWM_Stop(PWMTimer, TIM_CHANNEL_1);

		// FIMXE: Sleep the driver for now
//		HAL_GPIO_WritePin(MTR_NSLP_GPIO_Port, MTR_NSLP_Pin, GPIO_PIN_RESET);

  }

  if (htim == EncoderTimer) {
	  // Check if encoder was decreasing or increasing
	  if (__HAL_TIM_IS_TIM_COUNTING_DOWN(EncoderTimer) == 1) {
		  numOfRevolutions -= 1;
	  }
	  else {
		  numOfRevolutions += 1;
	  }
  }

  /* USER CODE END Callback 1 */
}

void Error_Handler(void)
{
  /* USER CODE BEGIN Error_Handler_Debug */
  /* User can add his own implementation to report the HAL error return state */
  __disable_irq();
  while (1)
  {
	  // Flash error LED
	  HAL_GPIO_TogglePin(ERROR_LED_GPIO_Port, ERROR_LED_Pin);
	  osDelay(500);

  }
  /* USER CODE END Error_Handler_Debug */
}
